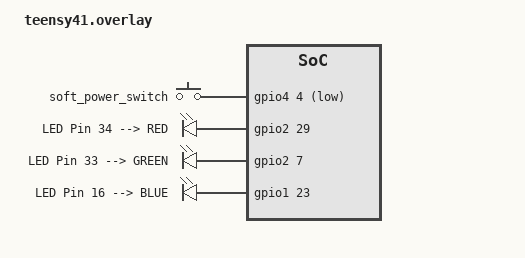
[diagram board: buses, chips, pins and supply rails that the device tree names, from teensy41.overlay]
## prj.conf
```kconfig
CONFIG_GPIO=y
CONFIG_USB_DEVICE_INITIALIZE_AT_BOOT=y
CONFIG_PRINTK=y
CONFIG_SERIAL=y
CONFIG_UART_INTERRUPT_DRIVEN=y
CONFIG_PWM=y
CONFIG_LOG=y
CONFIG_LOG_MODE_IMMEDIATE=y
CONFIG_PWM_LOG_LEVEL_DBG=y
CONFIG_LED=y
CONFIG_LED_PWM=y
```

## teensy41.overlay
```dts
/*
 *
 * This is the overlay  device tree file for the teensy 4.1 in the robosoccer mendelcollege robot.
 *
 * For more information on overlay files see
 * https://docs.zephyrproject.org/latest/build/dts/howtos.html#set-devicetree-overlays
 * https://www.digikey.be/en/maker/tutorials/2025/introduction-to-zephyr-part-4-devicetree-tutorial
 *
 */

/ {
    aliases {
        powerswitch = &soft_power_switch;
        redled = &red_led;
        greenled = &green_led;
        bueled = &blue_led;

    };

    buttons {
        compatible = "gpio-keys";
        debounce-interval-ms = <50>;
        polling-mode;

        soft_power_switch: d5 {
            gpios = <&gpio4 4 (GPIO_ACTIVE_LOW | GPIO_PULL_UP)>;
        };
    };
    leds {
        compatible = "gpio-leds";
        red_led: red-led {
            gpios = <&gpio2 29 GPIO_ACTIVE_HIGH>;
            label = "LED Pin 34 --> RED";
        };
        green_led: green-led {
            gpios = <&gpio2 7 GPIO_ACTIVE_HIGH>;
            label = "LED Pin 33 --> GREEN";
        };
        blue_led: blue-led {
            gpios = <&gpio1 23 GPIO_ACTIVE_HIGH>;
            label = "LED Pin 16 --> BLUE";
        };
    };
    flexpwm{
          compatible = "nxp,flexio-pwm";
          test: blue-test {
              label = "GPIO4_5 --> PIN3 --> Driver";
          };
    };
};
```

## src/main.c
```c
#include <zephyr.h>
#include <drivers/pwm.h>
#include <sys/printk.h>
```
